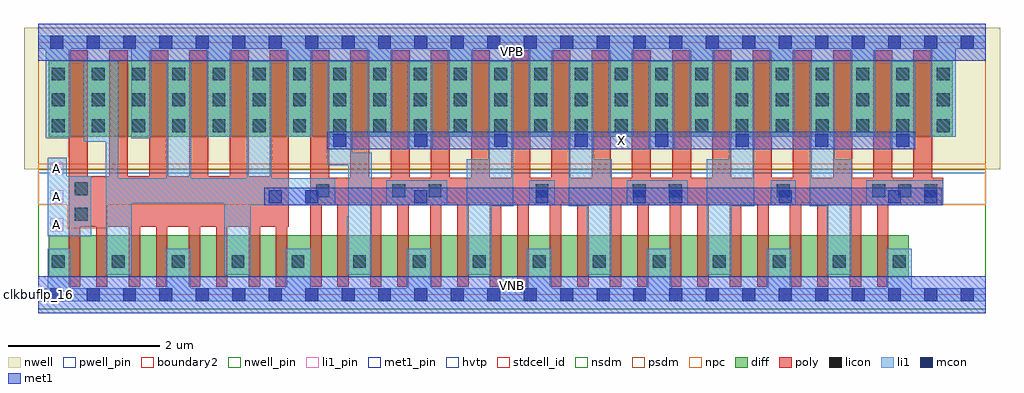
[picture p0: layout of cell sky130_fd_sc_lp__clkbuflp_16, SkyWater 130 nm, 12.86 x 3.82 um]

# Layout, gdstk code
import gdstk
lib = gdstk.Library(unit=1e-6, precision=1e-09)
def R(c, l, rs):  # rectangles x0, y0, x1, y1
    for r in rs: c.add(gdstk.rectangle(r[:2], r[2:], *l))
def A(c, l, x, y, w, h, nx, ny, dx, dy):  # array of equal rectangles
    R(c, l, [(x+i*dx, y+j*dy, x+i*dx+w, y+j*dy+h) for i in range(nx) for j in range(ny)])
def P(c, l, *ps):  # polygons
    for p in ps: c.add(gdstk.Polygon(p, *l))
nwell_pin = (64, 16)
nwell = (64, 20)
diff = (65, 20)
poly = (66, 20)
licon = (66, 44)
li1_pin = (67, 16)
li1 = (67, 20)
mcon = (67, 44)
met1_pin = (68, 16)
met1 = (68, 20)
hvtp = (78, 44)
stdcell_id = (81, 4)
nsdm = (93, 44)
psdm = (94, 20)
npc = (95, 20)
pwell_pin = (122, 16)
boundary2 = (236, 0)

sky130_fd_sc_lp__clkbufl = lib.new_cell('sky130_fd_sc_lp__clkbuflp_16')
R(sky130_fd_sc_lp__clkbufl, nwell_pin, [(0,3.085,12.48,3.33)])
R(sky130_fd_sc_lp__clkbufl, nwell, [(-0.19,1.655,12.67,3.52)])
R(sky130_fd_sc_lp__clkbufl, diff, [(0.135,0.235,11.465,0.785), (0.135,2.085,12.045,3.085)])
P(sky130_fd_sc_lp__clkbufl, poly, [(3.3,3.225),(3.05,3.225),(3.05,1.565),(2.77,1.565),(2.77,3.225),(2.52,3.225),(2.52,1.565),(2.24,1.565),(2.24,3.225),(1.99,3.225),(1.99,1.565),(1.71,1.565),(1.71,3.225),(1.46,3.225),(1.46,1.565),(1.18,1.565),(1.18,3.225),(0.93,3.225),(0.93,1.565),(0.65,1.565),(0.65,3.225),(0.4,3.225),(0.4,0.105),(0.55,0.105),(0.55,0.895),(0.76,0.895),(0.76,0.105),(0.91,0.105),(0.91,0.895),(1.19,0.895),(1.19,0.105),(1.34,0.105),(1.34,0.895),(1.55,0.895),(1.55,0.105),(1.7,0.105),(1.7,0.895),(1.98,0.895),(1.98,0.105),(2.13,0.105),(2.13,0.895),(2.34,0.895),(2.34,0.105),(2.49,0.105),(2.49,0.895),(2.77,0.895),(2.77,0.105),(2.92,0.105),(2.92,0.895),(3.13,0.895),(3.13,0.105),(3.28,0.105),(3.28,0.895),(3.3,0.895)],
  [(11.92,1.545),(11.78,1.545),(11.78,3.225),(11.53,3.225),(11.53,1.545),(11.25,1.545),(11.25,3.225),(11,3.225),(11,1.545),(10.72,1.545),(10.72,3.225),(10.47,3.225),(10.47,1.545),(10.19,1.545),(10.19,3.225),(9.94,3.225),(9.94,1.545),(9.66,1.545),(9.66,3.225),(9.41,3.225),(9.41,1.545),(9.13,1.545),(9.13,3.225),(8.88,3.225),(8.88,1.545),(8.6,1.545),(8.6,3.225),(8.35,3.225),(8.35,1.545),(8.07,1.545),(8.07,3.225),(7.82,3.225),(7.82,1.545),(7.54,1.545),(7.54,3.225),(7.29,3.225),(7.29,1.545),(7.01,1.545),(7.01,3.225),(6.76,3.225),(6.76,1.545),(6.48,1.545),(6.48,3.225),(6.23,3.225),(6.23,1.545),(5.95,1.545),(5.95,3.225),(5.7,3.225),(5.7,1.545),(5.42,1.545),(5.42,3.225),(5.17,3.225),(5.17,1.545),(4.89,1.545),(4.89,3.225),(4.64,3.225),(4.64,1.545),(4.36,1.545),(4.36,3.225),(4.11,3.225),(4.11,1.545),(3.83,1.545),(3.83,3.225),(3.58,3.225),(3.58,0.105),(3.73,0.105),(3.73,1.205),(3.94,1.205),(3.94,0.105),(4.09,0.105),(4.09,1.205),(4.37,1.205),(4.37,0.105),(4.52,0.105),(4.52,1.205),(4.73,1.205),(4.73,0.105),(4.88,0.105),(4.88,1.205),(5.16,1.205),(5.16,0.105),(5.31,0.105),(5.31,1.205),(5.52,1.205),(5.52,0.105),(5.67,0.105),(5.67,1.205),(5.95,1.205),(5.95,0.105),(6.1,0.105),(6.1,1.205),(6.31,1.205),(6.31,0.105),(6.46,0.105),(6.46,1.205),(6.74,1.205),(6.74,0.105),(6.89,0.105),(6.89,1.205),(7.1,1.205),(7.1,0.105),(7.25,0.105),(7.25,1.205),(7.53,1.205),(7.53,0.105),(7.68,0.105),(7.68,1.205),(7.89,1.205),(7.89,0.105),(8.04,0.105),(8.04,1.205),(8.32,1.205),(8.32,0.105),(8.47,0.105),(8.47,1.205),(8.68,1.205),(8.68,0.105),(8.83,0.105),(8.83,1.205),(9.11,1.205),(9.11,0.105),(9.26,0.105),(9.26,1.205),(9.47,1.205),(9.47,0.105),(9.62,0.105),(9.62,1.205),(9.9,1.205),(9.9,0.105),(10.05,0.105),(10.05,1.205),(10.26,1.205),(10.26,0.105),(10.41,0.105),(10.41,1.205),(10.69,1.205),(10.69,0.105),(10.84,0.105),(10.84,1.205),(11.05,1.205),(11.05,0.105),(11.2,0.105),(11.2,1.205),(11.92,1.205)])
A(sky130_fd_sc_lp__clkbufl, licon, 0.175, 0.355, 0.17, 0.17, 5, 1, 0.79, 0)
A(sky130_fd_sc_lp__clkbufl, licon, 4.145, 0.355, 0.17, 0.17, 10, 1, 0.79, 0)
A(sky130_fd_sc_lp__clkbufl, licon, 10.99, 1.285, 0.17, 0.17, 3, 1, 0.34, 0)
A(sky130_fd_sc_lp__clkbufl, licon, 0.175, 2.145, 0.17, 0.17, 23, 3, 0.53, 0.34)
R(sky130_fd_sc_lp__clkbufl, licon, [(0.48,0.975,0.65,1.145), (3.66,1.285,3.83,1.455), (4.665,1.285,4.835,1.455), (5.14,1.285,5.31,1.455), (6.55,1.285,6.72,1.455), (7.83,1.285,8,1.455), (8.305,1.285,8.475,1.455), (9.73,1.285,9.9,1.455), (0.48,1.315,0.65,1.485)])
A(sky130_fd_sc_lp__clkbufl, li1_pin, 0.155, 0.84, 0.17, 0.17, 1, 3, 0, 0.37)
A(sky130_fd_sc_lp__clkbufl, li1, 4.865, 1.92, 0.33, 1.155, 3, 1, 3.18, 0)
R(sky130_fd_sc_lp__clkbufl, li1, [(4.585,1.18,5.39,1.51), (6.47,1.18,6.8,1.51), (7.75,1.18,8.555,1.51), (9.65,1.18,9.98,1.51), (10.91,1.18,11.92,1.51)])
P(sky130_fd_sc_lp__clkbufl, li1, [(0.695,1.565),(0.37,1.565),(0.37,1.805),(0.125,1.805),(0.125,0.775),(0.695,0.775)],
  [(12.48,0.085),(11.505,0.085),(11.505,0.605),(11.175,0.605),(11.175,0.085),(9.925,0.085),(9.925,0.605),(9.595,0.605),(9.595,0.085),(8.345,0.085),(8.345,0.605),(8.015,0.605),(8.015,0.085),(6.765,0.085),(6.765,0.605),(6.435,0.605),(6.435,0.085),(5.185,0.085),(5.185,0.605),(4.855,0.605),(4.855,0.085),(3.585,0.085),(3.585,0.605),(3.255,0.605),(3.255,0.085),(2.005,0.085),(2.005,0.605),(1.675,0.605),(1.675,0.085),(0.425,0.085),(0.425,0.605),(0.125,0.605),(0.125,0.085),(0,0.085),(0,-0.085),(12.48,-0.085)],
  [(12.48,3.415),(0,3.415),(0,3.245),(0.095,3.245),(0.095,2.065),(0.425,2.065),(0.425,3.245),(1.225,3.245),(1.225,2.065),(1.485,2.065),(1.485,3.245),(2.215,3.245),(2.215,2.085),(2.545,2.085),(2.545,3.245),(3.275,3.245),(3.275,2.085),(3.605,2.085),(3.605,3.245),(4.335,3.245),(4.335,2.085),(4.665,2.085),(4.665,3.245),(5.395,3.245),(5.395,2.085),(5.725,2.085),(5.725,3.245),(6.455,3.245),(6.455,2.085),(6.785,2.085),(6.785,3.245),(7.515,3.245),(7.515,2.085),(7.845,2.085),(7.845,3.245),(8.575,3.245),(8.575,2.085),(8.905,2.085),(8.905,3.245),(9.635,3.245),(9.635,2.085),(9.965,2.085),(9.965,3.245),(10.695,3.245),(10.695,2.085),(11.025,2.085),(11.025,3.245),(11.755,3.245),(11.755,2.085),(12.085,2.085),(12.085,3.245),(12.48,3.245)],
  [(3.91,1.535),(3.075,1.535),(3.075,3.075),(2.745,3.075),(2.745,1.535),(2.015,1.535),(2.015,3.075),(1.685,3.075),(1.685,1.535),(1.055,1.535),(1.055,3.075),(0.595,3.075),(0.595,2.015),(0.885,2.015),(0.885,0.265),(1.23,0.265),(1.23,1.205),(2.45,1.205),(2.45,0.265),(2.795,0.265),(2.795,1.18),(3.91,1.18)],
  [(4.395,1.875),(4.135,1.875),(4.135,3.075),(3.805,3.075),(3.805,1.705),(4.08,1.705),(4.08,1.035),(4.065,1.035),(4.065,0.265),(4.395,0.265)],
  [(6.255,3.075),(5.925,3.075),(5.925,1.79),(5.645,1.79),(5.645,0.265),(5.975,0.265),(5.975,1.17),(6.255,1.17)],
  [(7.555,1.79),(7.315,1.79),(7.315,3.075),(6.985,3.075),(6.985,1.17),(7.225,1.17),(7.225,0.265),(7.555,0.265)],
  [(9.435,3.075),(9.105,3.075),(9.105,1.79),(8.805,1.79),(8.805,0.265),(9.135,0.265),(9.135,1.17),(9.435,1.17)],
  [(10.715,1.79),(10.495,1.79),(10.495,3.075),(10.165,3.075),(10.165,1.17),(10.385,1.17),(10.385,0.265),(10.715,0.265)])
A(sky130_fd_sc_lp__clkbufl, mcon, 0.155, -0.085, 0.17, 0.17, 26, 2, 0.48, 3.33)
A(sky130_fd_sc_lp__clkbufl, mcon, 8.315, 1.21, 0.17, 0.17, 3, 1, 1.44, 0)
A(sky130_fd_sc_lp__clkbufl, mcon, 7.07, 1.95, 0.17, 0.17, 3, 1, 1.06, 0)
R(sky130_fd_sc_lp__clkbufl, mcon, [(3.035,1.21,3.205,1.38), (3.515,1.21,3.685,1.38), (4.955,1.21,5.125,1.38), (6.55,1.21,6.72,1.38), (7.835,1.21,8.005,1.38), (11.675,1.21,11.845,1.38), (3.885,1.95,4.055,2.12), (4.955,1.95,5.125,2.12), (6.005,1.95,6.175,2.12), (10.235,1.95,10.405,2.12), (11.305,1.95,11.475,2.12)])
R(sky130_fd_sc_lp__clkbufl, met1_pin, [(0,0,12.48,0.245), (3.805,1.92,11.555,2.15), (0,3.085,12.48,3.33)])
R(sky130_fd_sc_lp__clkbufl, met1, [(0,-0.245,12.48,0.245), (2.975,1.18,11.905,1.41), (3.805,1.92,11.555,2.15), (0,3.085,12.48,3.575)])
R(sky130_fd_sc_lp__clkbufl, hvtp, [(0,1.6,12.48,3.33)])
R(sky130_fd_sc_lp__clkbufl, stdcell_id, [(0,0,12.48,3.33)])
R(sky130_fd_sc_lp__clkbufl, nsdm, [(0,-0.19,12.48,1.655)])
R(sky130_fd_sc_lp__clkbufl, psdm, [(0,1.655,12.48,3.52)])
P(sky130_fd_sc_lp__clkbufl, npc, [(12.48,1.73),(0,1.73),(0,1.185),(0.38,1.185),(0.38,0.875),(0.905,0.875),(0.905,1.185),(12.48,1.185)])
R(sky130_fd_sc_lp__clkbufl, pwell_pin, [(0,0,12.48,0.245)])
R(sky130_fd_sc_lp__clkbufl, boundary2, [(0,0,12.48,3.33)])
sky130_fd_sc_lp__clkbufl.add(gdstk.Label('VNB', (6.24,0.123), layer=64, texttype=59))
sky130_fd_sc_lp__clkbufl.add(gdstk.Label('VPB', (6.24,3.208), layer=64, texttype=5))
sky130_fd_sc_lp__clkbufl.add(gdstk.Label('clkbuflp_16', (0,0), layer=83, texttype=44))
sky130_fd_sc_lp__clkbufl.add(gdstk.Label('X', (7.68,2.035), layer=68, texttype=5))
sky130_fd_sc_lp__clkbufl.add(gdstk.Label('VPWR', (6.24,3.208), layer=68, texttype=5))
sky130_fd_sc_lp__clkbufl.add(gdstk.Label('VGND', (6.24,0.123), layer=68, texttype=5))
sky130_fd_sc_lp__clkbufl.add(gdstk.Label('A', (0.24,0.925), layer=67, texttype=5))
sky130_fd_sc_lp__clkbufl.add(gdstk.Label('A', (0.24,1.665), layer=67, texttype=5))
sky130_fd_sc_lp__clkbufl.add(gdstk.Label('A', (0.24,1.295), layer=67, texttype=5))

lib.write_gds('sky130_fd_sc_lp__clkbuflp_16.gds')
